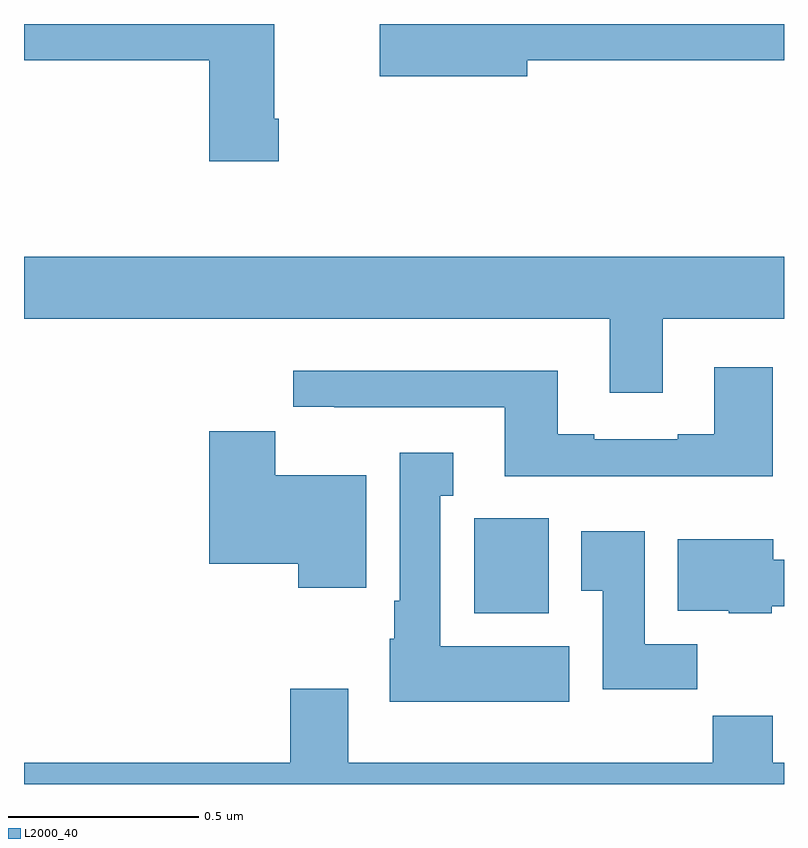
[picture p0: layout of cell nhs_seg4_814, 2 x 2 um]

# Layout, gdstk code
import gdstk
lib = gdstk.Library(unit=1e-6, precision=1e-09)
def R(c, l, rs):  # rectangles x0, y0, x1, y1
    for r in rs: c.add(gdstk.rectangle(r[:2], r[2:], *l))
def P(c, l, *ps):  # polygons
    for p in ps: c.add(gdstk.Polygon(p, *l))
L2000_40 = (2000, 40)

nhs_seg4_814 = lib.new_cell('nhs_seg4_814')
R(nhs_seg4_814, L2000_40, [(121.185,825.35,121.381,825.6)])
P(nhs_seg4_814, L2000_40, [(120.671,826.651),(120.658,826.651),(120.658,826.9),(120,826.9),(120,826.804),(120.488,826.804),(120.488,826.539),(120.671,826.539)],
  [(121.324,826.804),(122,826.804),(122,826.9),(120.936,826.9),(120.936,826.762),(121.324,826.762)],
  [(121.681,826.124),(122,826.124),(122,826.288),(120,826.288),(120,826.124),(121.541,826.124),(121.541,825.93),(121.681,825.93)],
  [(121.97,825.997),(121.817,825.997),(121.817,825.82),(121.721,825.82),(121.721,825.807),(121.501,825.807),(121.501,825.82),(121.405,825.82),(121.405,825.988),(120.708,825.988),(120.708,825.893),(120.817,825.893),(120.817,825.891),(121.265,825.891),(121.265,825.71),(121.97,825.71)],
  [(120.901,825.712),(120.661,825.712),(120.661,825.828),(120.488,825.828),(120.488,825.479),(120.722,825.479),(120.722,825.416),(120.901,825.416)],
  [(121.435,825.262),(121.096,825.262),(121.096,825.659),(121.129,825.659),(121.129,825.772),(120.989,825.772),(120.989,825.382),(120.974,825.382),(120.974,825.282),(120.962,825.282),(120.962,825.116),(121.435,825.116)],
  [(121.772,825.268),(121.633,825.268),(121.633,825.565),(121.466,825.565),(121.466,825.409),(121.523,825.409),(121.523,825.15),(121.772,825.15)],
  [(121.968,825.368),(122,825.368),(122,825.49),(121.972,825.49),(121.972,825.544),(121.721,825.544),(121.721,825.356),(121.854,825.356),(121.854,825.35),(121.968,825.35)],
  [(122,824.956),(121.97,824.956),(121.97,825.08),(121.813,825.08),(121.813,824.956),(120.853,824.956),(120.853,825.151),(120.701,825.151),(120.701,824.956),(120,824.956),(120,824.9),(122,824.9)])

lib.write_gds('nhs_seg4_814.gds')
